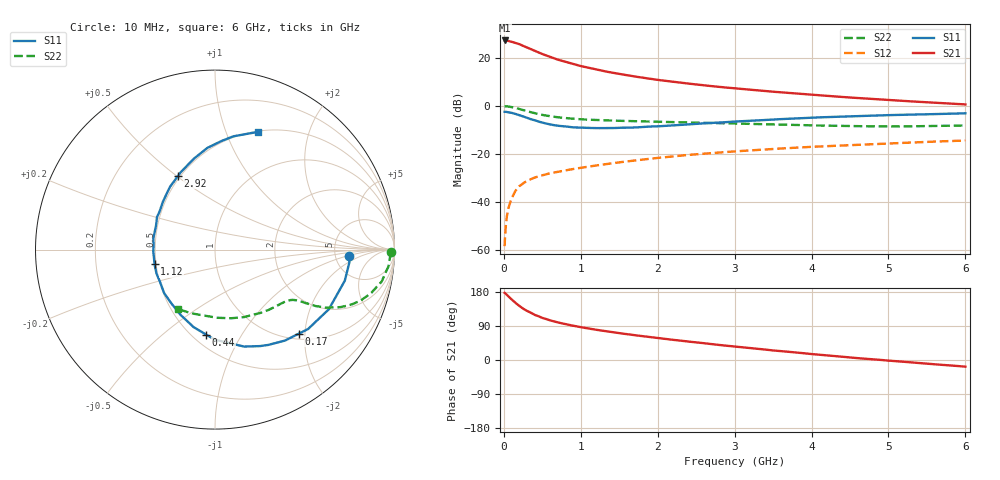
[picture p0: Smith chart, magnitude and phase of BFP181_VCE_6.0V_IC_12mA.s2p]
! Infineon Technologies  Discrete & RF Semiconductors
! BFP181
! VCE = 6.0 V,  IC =  12 mA
! Common Emitter S-Parameters:  Jan 2016
# GHz  S  MA  R  50
!  f  S11  S21  S12  S22
! GHz  MAG  ANG  MAG  ANG  MAG  ANG  MAG  ANG
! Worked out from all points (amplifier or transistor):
!   210 points, 10 MHz to 6 GHz, reference 50 ohm
!   highest |S21| = 27.2 dB at 10 MHz (marker M1)
!   |S21| within 3 dB of that: start of sweep to 307.8 MHz
!   unconditionally stable (mu >= 1): 1.174 GHz to end of sweep
!   at 185 MHz: K = 0.28, MSG = 29.9 dB, |S12| = -34.0 dB
!   at 1.52 GHz: K = 1.08, MAG = 16.5 dB, |S12| = -23.5 dB
!   at 6 GHz: K = 1.01, MAG = 6.8 dB, |S12| = -14.4 dB
!   S11 on the Smith chart (normalised r, x): 10 MHz: 6.76, -1.17; 170 MHz: 1.12, -1.86; 440 MHz: 0.58, -0.72; 1.12 GHz: 0.49, -0.09; 2.92 GHz: 0.49, +0.51; 6 GHz: 0.51, +1.30
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0.01  0.7488 -2.9  22.89 177.1  0.0012 85.5  0.9785 -0.9
0.05  0.7437 -13.5  22.55 169.7  0.0064 85.7  0.9705 -5.6
0.1  0.716 -27.7  21.54 160.0  0.0115 75.9  0.9452 -10.9
0.15  0.6816 -40.5  20.48 150.8  0.0169 70.3  0.9036 -15.5
0.17  0.6614 -45.1  19.92 147.7  0.0186 68.6  0.8857 -17.0
0.22  0.6223 -56.5  18.56 140.0  0.0224 64.8  0.8413 -20.5
0.3  0.564 -73.3  16.41 129.7  0.0274 59.3  0.7717 -24.5
0.4  0.5015 -90.2  13.96 119.2  0.0321 55.6  0.7007 -27.5
0.44  0.4762 -95.9  13.12 116.3  0.0336 54.3  0.6786 -28.1
0.5  0.4481 -105.4  11.93 111.1  0.0359 52.5  0.6457 -29.2
0.6  0.4109 -117.9  10.46 104.7  0.0394 51.8  0.606 -30.1
0.7  0.3852 -129.5  9.141 99.2  0.0422 51.4  0.5767 -30.7
0.8  0.3727 -139.5  8.218 94.5  0.0451 51.0  0.5554 -31.2
1.02  0.3507 -159.1  6.606 85.9  0.0518 50.3  0.5225 -32.5
1.12  0.3462 -166.5  6.081 82.3  0.0549 50.4  0.5123 -33.2
1.5  0.3493 169.9  4.605 70.8  0.0666 49.9  0.4873 -36.3
2.02  0.3754 145.1  3.429 57.6  0.0831 47.8  0.4655 -42.5
2.92  0.4604 116.5  2.373 37.2  0.1101 42.3  0.4289 -56.2
3.1  0.478 112.0  2.236 33.7  0.1152 41.0  0.4214 -59.3
4.1  0.5747 92.7  1.657 14.0  0.1423 33.3  0.3889 -79.2
5.1  0.6442 79.6  1.291 -3.1  0.1667 25.9  0.3727 -101.4
6  0.698 70.0  1.068 -17.6  0.1895 19.0  0.3904 -122.2
